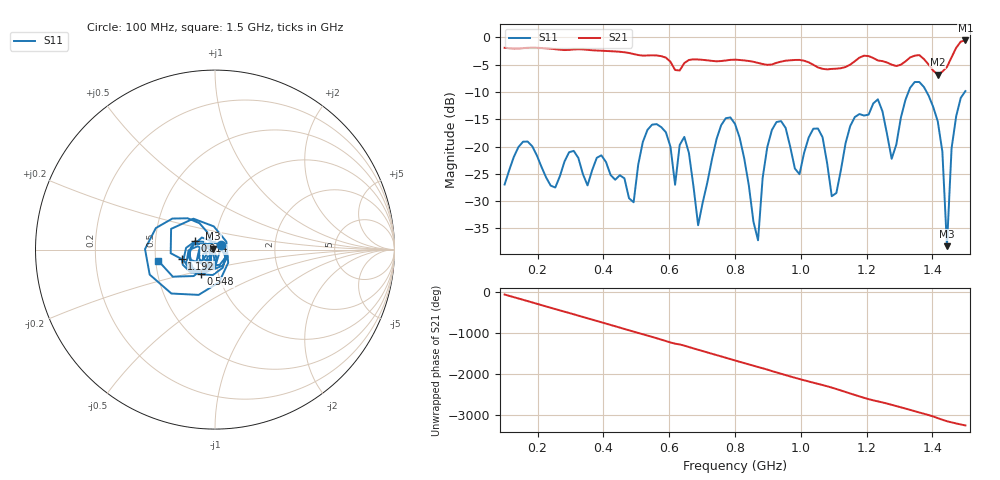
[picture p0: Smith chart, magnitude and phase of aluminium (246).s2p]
! NanoVNA-App
! Date: 2025-09-25 14:57:11
! Start: 100MHz Stop: 1,5GHz Points: 101
! S-Parameter data: F S11 S21 S12 S22
# Hz S RI R 50
!  Frequency  S11_Real  S11_Imag  S21_Real  S21_Imag  S12_Real  S12_Imag  S22_Real  S22_Imag
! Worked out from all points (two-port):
!   101 points, 100 MHz to 1.5 GHz, reference 50 ohm
!   highest |S21| = -0.58 dB at 1.5 GHz (marker M1); lowest = -6.8 dB at 1.416 GHz (marker M2)
!   |S21| within 3 dB of the highest: start of sweep to 582.6 MHz; 1.459 GHz to end of sweep (the widest 2 of 4)
!   lowest |S11| = -38.2 dB at 1.444 GHz (marker M3), VSWR 1.02, Z = 48.9 + j0.495 ohm
!   |S11| at or under -10 dB: start of sweep to 1.327 GHz; 1.382 GHz to 1.498 GHz (116.1 MHz wide, 8.06 % of centre)
!   S12 and S22 are empty: the file has one direction only
!   S11 on the Smith chart (normalised r, x): 100 MHz: 1.07, +0.06; 548 MHz: 0.82, -0.23; 814 MHz: 0.80, +0.07; 1.192 GHz: 0.68, -0.07; 1.5 GHz: 0.52, -0.07
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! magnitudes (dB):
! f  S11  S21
! 100 MHz  -27.0  -1.9
! 338 MHz  -25.1  -2.2
! 492 MHz  -30.2  -3.1
! 548 MHz  -16.0  -3.3
! 576 MHz  -16.5  -3.4
! 618 MHz  -27.0  -6.0
! 646 MHz  -18.2  -4.7
! 688 MHz  -34.4  -4.1
! 800 MHz  -15.8  -4.1
! 814 MHz  -18.4  -4.2
! 870 MHz  -37.2  -4.7
! 912 MHz  -17.0  -5.0
! 996 MHz  -25.1  -4.1
! 1.038 GHz  -16.7  -5.0
! 1.094 GHz  -29.1  -5.8
! 1.192 GHz  -14.3  -3.4
! 1.276 GHz  -22.2  -5.0
! 1.346 GHz  -8.2  -3.4
! 1.416 GHz  -15.4  -6.8
! 1.444 GHz  -38.2  -5.4
! 1.458 GHz  -20.3  -3.7
! 1.5 GHz  -9.9  -0.6
